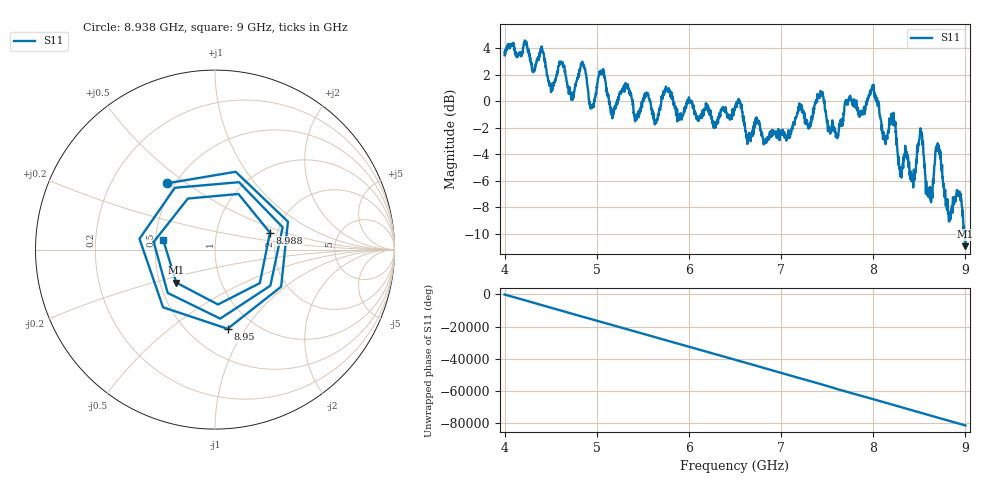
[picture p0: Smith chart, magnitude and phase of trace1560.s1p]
! Created with skrf 1.8.0 (http://scikit-rf.org).
# Hz S RI R 50.0
!freq ReS11 ImS11
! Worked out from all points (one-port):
!   1601 points, 4 GHz to 9 GHz, reference 50 ohm
!   lowest |S11| = -10.9 dB at 8.997 GHz (marker M1), VSWR 1.79, Z = 30.4 - j12.2 ohm
!   |S11| at or under -10 dB: 8.989433 GHz to end of sweep
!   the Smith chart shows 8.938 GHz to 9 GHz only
!   S11 on the Smith chart (normalised r, x): 8.938 GHz: 0.46, +0.42; 8.95 GHz: 0.76, -0.83; 8.988 GHz: 1.83, +0.38; 9 GHz: 0.55, +0.07
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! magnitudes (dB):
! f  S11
! 4 GHz  3.5
! 4.509 GHz  0.9
! 4.625 GHz  2.9
! 4.734 GHz  0.1
! 4.853 GHz  2.8
! 4.944 GHz  -0.4
! 5.053 GHz  2.2
! 5.159 GHz  -0.8
! 5.25 GHz  0.6
! 5.875 GHz  -1.5
! 6.5 GHz  -0.4
! 6.647 GHz  -2.7
! 7.125 GHz  -1.8
! 7.434 GHz  0.4
! 7.603 GHz  -2.7
! 7.75 GHz  0.4
! 7.997 GHz  1.0
! 8.375 GHz  -4.5
! 8.438 GHz  -5.5
! 8.516 GHz  -2.4
! 8.616 GHz  -7.0
! 8.7 GHz  -3.2
! 8.812 GHz  -8.5
! 8.938 GHz  -6.8
! 8.95 GHz  -7.0
! 8.988 GHz  -9.9
! 8.997 GHz  -10.9
! 9 GHz  -10.6
